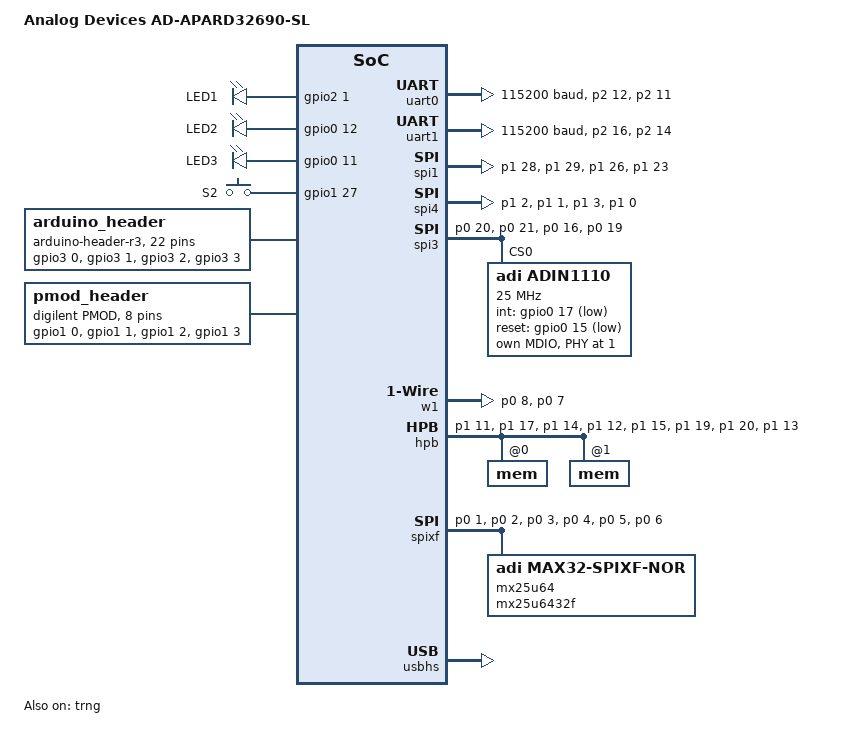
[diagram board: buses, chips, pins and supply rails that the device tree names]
/*
 * Copyright (c) 2024 Analog Devices, Inc.
 *
 * SPDX-License-Identifier: Apache-2.0
 */

/dts-v1/;

#include <adi/max32/max32690.dtsi>
#include <adi/max32/max32690-pinctrl.dtsi>
#include <zephyr/dt-bindings/gpio/adi-max32-gpio.h>
#include <zephyr/dt-bindings/gpio/arduino-header-r3.h>
#include <zephyr/dt-bindings/memory-controller/adi-max32-hpb.h>
#include <zephyr/dt-bindings/input/input-event-codes.h>

/ {
	model = "Analog Devices AD-APARD32690-SL";
	compatible = "adi,apard32690";

	chosen {
		zephyr,console = &uart0;
		zephyr,shell-uart = &uart0;
		zephyr,sram = &sram0;
		zephyr,flash = &flash0;
	};

	leds {
		compatible = "gpio-leds";

		blue_led: blue_led {
			gpios = <&gpio2 1 GPIO_ACTIVE_HIGH>;
			label = "LED1";
		};

		red_led: red_led {
			gpios = <&gpio0 12 GPIO_ACTIVE_HIGH>;
			label = "LED2";
		};

		green_led: green_led {
			gpios = <&gpio0 11 GPIO_ACTIVE_HIGH>;
			label = "LED3";
		};
	};

	buttons {
		compatible = "gpio-keys";

		usr_btn: usr_btn {
			gpios = <&gpio1 27 (GPIO_PULL_DOWN | GPIO_ACTIVE_HIGH)>;
			label = "S2";
			zephyr,code = <INPUT_KEY_0>;
		};
	};

	aliases {
		led0 = &blue_led;
		led1 = &red_led;
		led2 = &green_led;
		sw0 = &usr_btn;
	};

	arduino_header: connector {
		compatible = "arduino-header-r3";
		#gpio-cells = <2>;
		gpio-map-mask = <0xffffffff 0xfffffe00>;
		gpio-map-pass-thru = <0 0x1ff>;
		gpio-map = <ARDUINO_HEADER_R3_A0 0 &gpio3 0 0>,
			   <ARDUINO_HEADER_R3_A1 0 &gpio3 1 0>,
			   <ARDUINO_HEADER_R3_A2 0 &gpio3 2 0>,
			   <ARDUINO_HEADER_R3_A3 0 &gpio3 3 0>,
			   <ARDUINO_HEADER_R3_A4 0 &gpio3 4 0>,
			   <ARDUINO_HEADER_R3_A5 0 &gpio3 5 0>,
			   <ARDUINO_HEADER_R3_D0 0 &gpio2 14 0>,
			   <ARDUINO_HEADER_R3_D1 0 &gpio2 16 0>,
			   <ARDUINO_HEADER_R3_D2 0 &gpio2 13 0>,
			   <ARDUINO_HEADER_R3_D3 0 &gpio2 15 0>,
			   <ARDUINO_HEADER_R3_D4 0 &gpio0 8 0>,
			   <ARDUINO_HEADER_R3_D5 0 &gpio0 7 0>,
			   <ARDUINO_HEADER_R3_D6 0 &gpio1 24 0>,
			   <ARDUINO_HEADER_R3_D7 0 &gpio1 25 0>,
			   <ARDUINO_HEADER_R3_D8 0 &gpio1 31 0>,
			   <ARDUINO_HEADER_R3_D9 0 &gpio1 30 0>,
			   <ARDUINO_HEADER_R3_D10 0 &gpio1 23 0>,
			   <ARDUINO_HEADER_R3_D11 0 &gpio1 29 0>,
			   <ARDUINO_HEADER_R3_D12 0 &gpio1 28 0>,
			   <ARDUINO_HEADER_R3_D13 0 &gpio1 26 0>,
			   <ARDUINO_HEADER_R3_D14 0 &gpio2 17 0>,
			   <ARDUINO_HEADER_R3_D15 0 &gpio2 18 0>;
	};

	pmod_header: pmod-header {
		compatible = "digilent,pmod";
		#gpio-cells = <2>;
		gpio-map-mask = <0xffffffff 0xffffffc0>;
		gpio-map-pass-thru = <0 0x3f>;
		gpio-map = <0 0 &gpio1 0 0>,	/* IO1/CS */
			   <1 0 &gpio1 1 0>,	/* IO2/MOSI */
			   <2 0 &gpio1 2 0>,	/* IO3/MISO */
			   <3 0 &gpio1 3 0>,	/* IO4/SCK */
			   <4 0 &gpio2 21 0>,	/* IO5/INT */
			   <5 0 &gpio1 6 0>,	/* IO6/RESET */
			   <6 0 &gpio1 4 0>,	/* IO7/CS2 */
			   <7 0 &gpio1 5 0>;	/* IO8/CS3 */
	};

	sdram1: sdram1@60000000 {
		compatible = "zephyr,memory-region", "mmio-sram";
		status = "disabled";
		device_type = "memory";
		reg = <0x60000000 DT_SIZE_M(64)>;
		zephyr,memory-region = "SDRAM1";
	};

	sdram2: sdram2@70000000 {
		compatible = "zephyr,memory-region", "mmio-sram";
		status = "disabled";
		device_type = "memory";
		reg = <0x70000000 DT_SIZE_M(64)>;
		zephyr,memory-region = "SDRAM2";
	};
};

&clk_ipo {
	status = "okay";
};

&clk_ibro {
	status = "okay";
};

&gpio0 {
	status = "okay";
};

&gpio1 {
	status = "okay";
};

&gpio2 {
	status = "okay";
};

&gpio3 {
	status = "okay";
};

&gpio4 {
	status = "okay";
};

&uart0 {
	clock-source = <ADI_MAX32_PRPH_CLK_SRC_IBRO>;
	pinctrl-0 = <&uart0a_tx_p2_12 &uart0a_rx_p2_11>;
	pinctrl-names = "default";
	current-speed = <115200>;
	data-bits = <8>;
	parity = "none";
	status = "okay";
};

&trng {
	status = "okay";
};

arduino_serial: &uart1 {
	clock-source = <ADI_MAX32_PRPH_CLK_SRC_IBRO>;
	pinctrl-0 = <&uart1a_tx_p2_16 &uart1a_rx_p2_14>;
	pinctrl-names = "default";
	current-speed = <115200>;
};

&spi1a_miso_p1_28 {
	power-source = <MAX32_VSEL_VDDIOH>;
};

&spi1a_mosi_p1_29 {
	power-source = <MAX32_VSEL_VDDIOH>;
};

&spi1a_sck_p1_26 {
	power-source = <MAX32_VSEL_VDDIOH>;
};

&spi1a_ss0_p1_23 {
	power-source = <MAX32_VSEL_VDDIOH>;
};

arduino_spi: &spi1 {
	pinctrl-0 = <&spi1a_miso_p1_28 &spi1a_mosi_p1_29 &spi1a_sck_p1_26
		     &spi1a_ss0_p1_23>;
	pinctrl-names = "default";
};

&spi4a_miso_p1_2 {
	power-source = <MAX32_VSEL_VDDIOH>;
};

&spi4a_mosi_p1_1 {
	power-source = <MAX32_VSEL_VDDIOH>;
};

&spi4a_sck_p1_3 {
	power-source = <MAX32_VSEL_VDDIOH>;
};

&spi4a_ss0_p1_0 {
	power-source = <MAX32_VSEL_VDDIOH>;
};

pmod_spi: &spi4 {
	pinctrl-0 = <&spi4a_miso_p1_2 &spi4a_mosi_p1_1 &spi4a_sck_p1_3
		     &spi4a_ss0_p1_0>;
	pinctrl-names = "default";
};

&spi3a_miso_p0_20 {
	power-source = <MAX32_VSEL_VDDIOH>;
};

&spi3a_mosi_p0_21 {
	power-source = <MAX32_VSEL_VDDIOH>;
};

&spi3a_sck_p0_16 {
	power-source = <MAX32_VSEL_VDDIOH>;
};

&spi3a_ss0_p0_19 {
	power-source = <MAX32_VSEL_VDDIOH>;
};

&spi3 {
	pinctrl-0 = <&spi3a_miso_p0_20 &spi3a_mosi_p0_21 &spi3a_sck_p0_16
		     &spi3a_ss0_p0_19>;
	pinctrl-names = "default";
	status = "okay";

	adin1110: adin1110@0 {
		compatible = "adi,adin1110";
		reg = <0x0>;
		spi-max-frequency = <DT_FREQ_M(25)>;
		int-gpios = <&gpio0 17 (GPIO_ACTIVE_LOW | MAX32_GPIO_VSEL_VDDIOH)>;
		reset-gpios = <&gpio0 15 (GPIO_ACTIVE_LOW | MAX32_GPIO_VSEL_VDDIOH)>;
		status = "okay";

		port1 {
			local-mac-address = [00 E0 22 FE DA C9];
		};

		mdio {
			compatible = "adi,adin2111-mdio";
			#address-cells = <1>;
			#size-cells = <0>;

			ethernet-phy@1 {
				reg = <0x1>;
				compatible = "adi,adin2111-phy";
			};
		};
	};
};

&w1 {
	pinctrl-0 = <&owm_io_p0_8 &owm_pe_p0_7>;
	pinctrl-names = "default";
};

&hpb {
	pinctrl-0 = <&hyp_cs0n_p1_11 &hyp_cs1n_p1_17 &hyp_rwds_p1_14
		     &hyp_d0_p1_12 &hyp_d1_p1_15
		     &hyp_d2_p1_19 &hyp_d3_p1_20 &hyp_d4_p1_13
		     &hyp_d5_p1_16 &hyp_d6_p1_18 &hyp_d7_p1_21>;
	pinctrl-names = "default";
	enable-emcc;

	mem@0 {
		reg = <0>;
		base-address = <0x60000000>;
		device-type = <ADI_MAX32_HPB_DEV_TYPE_HYPER_RAM>;

		latency-cycles = <ADI_MAX32_HPB_LAT_6>;
		read-cs-high = <ADI_MAX32_HPB_CS_HIGH_10_5>;
		write-cs-high = <ADI_MAX32_HPB_CS_HIGH_10_5>;
		read-cs-setup = <ADI_MAX32_HPB_CS_SETUP_HOLD_16>;
		write-cs-setup = <ADI_MAX32_HPB_CS_SETUP_HOLD_14>;
		read-cs-hold = <ADI_MAX32_HPB_CS_SETUP_HOLD_5>;
		write-cs-hold = <ADI_MAX32_HPB_CS_SETUP_HOLD_12>;

		/* CR0 settings. Key setting is enabling 6-clock latency, since
		 * HPB doesn't support 7-clock latency which is default
		 */
		config-regs = <0x1000>;
		config-reg-vals = <0x801F>;
	};

	mem@1 {
		reg = <1>;
		base-address = <0x70000000>;
		device-type = <ADI_MAX32_HPB_DEV_TYPE_HYPER_RAM>;

		latency-cycles = <ADI_MAX32_HPB_LAT_6>;
		read-cs-high = <ADI_MAX32_HPB_CS_HIGH_10_5>;
		write-cs-high = <ADI_MAX32_HPB_CS_HIGH_10_5>;
		read-cs-setup = <ADI_MAX32_HPB_CS_SETUP_HOLD_16>;
		write-cs-setup = <ADI_MAX32_HPB_CS_SETUP_HOLD_14>;
		read-cs-hold = <ADI_MAX32_HPB_CS_SETUP_HOLD_5>;
		write-cs-hold = <ADI_MAX32_HPB_CS_SETUP_HOLD_12>;

		/* CR0 settings. Key setting is enabling 6-clock latency, since
		 * HPB doesn't support 7-clock latency which is default
		 */
		config-regs = <0x1000>;
		config-reg-vals = <0x801F>;
	};
};

&spixf {
	pinctrl-0 = <&spixf_sdio0_p0_1 &spixf_sdio2_p0_2 &spixf_sck_p0_3
		     &spixf_sdio3_p0_4 &spixf_sdio1_p0_5 &spixf_ss0_p0_6>;
	pinctrl-names = "default";

	mx25u64: mx25u6432f@8000000 {
		compatible = "adi,max32-spixf-nor";
		reg = <0x08000000 DT_SIZE_M(8)>; /* 64 Mbits */
		qspi-max-frequency = <60000000>;
		jedec-id = [c2 37 25];
		sfdp-bfp = [e5 20 f1 ff ff ff ff 03 44 eb 08 6b 08 3b 04 bb
			    fe ff ff ff ff ff 00 ff ff ff 44 eb 0c 20 0f 52
			    10 d8 00 ff d3 49 c9 00 83 a6 04 c4 44 03 17 38
			    30 b0 30 b0 f7 bd d5 5c 4a 9e 29 ff f0 d0 ff ff];
		page-size = <4096>;
		reset-cmd;
		spi-bus-width = <4>;
		writeoc = "PP_1_1_4";
	};
};

zephyr_udc0: &usbhs {
	status = "okay";
};
